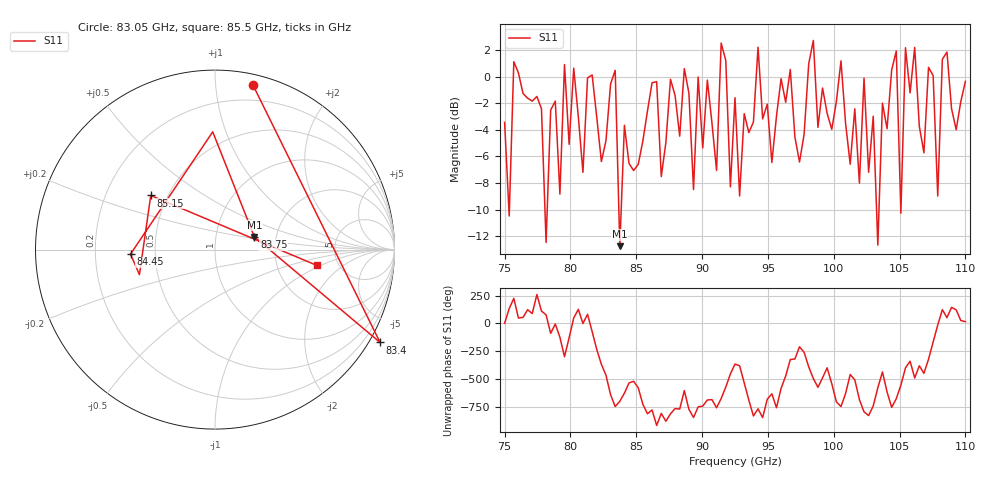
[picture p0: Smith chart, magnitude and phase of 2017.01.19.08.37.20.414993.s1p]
!Created with skrf (http://scikit-rf.org).
# GHz S RI R 50.0
!freq ReS11 ImS11
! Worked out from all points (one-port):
!   101 points, 75 GHz to 110 GHz, reference 50 ohm
!   lowest |S11| = -12.7 dB at 83.75 GHz (marker M1), VSWR 1.60, Z = 77.1 + j11.5 ohm
!   |S11| at or under -10 dB: 75.32603 GHz to 75.36455 GHz (38.52 MHz wide, 0.0511 % of centre); 78.06409 GHz to 78.23676 GHz (172.7 MHz wide, 0.221 % of centre); 83.67722 GHz to 83.85582 GHz (178.6 MHz wide, 0.213 % of centre) (the widest 3 of 5)
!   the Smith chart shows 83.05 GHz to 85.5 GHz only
!   S11 on the Smith chart (normalised r, x): 83.05 GHz: 0.08, +1.26; 83.4 GHz: -0.42, -3.77; 83.75 GHz: 1.54, +0.23; 84.45 GHz: 0.36, -0.02; 85.15 GHz: 0.40, +0.31; 85.5 GHz: 3.42, -0.89
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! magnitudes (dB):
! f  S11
! 75 GHz  -3.4
! 75.35 GHz  -10.5
! 77.8 GHz  -2.4
! 78.15 GHz  -12.5
! 79.55 GHz  0.9
! 80.95 GHz  -7.2
! 83.05 GHz  -0.5
! 83.4 GHz  0.5
! 83.75 GHz  -12.7
! 84.45 GHz  -6.5
! 85.15 GHz  -6.6
! 85.5 GHz  -4.8
! 88.3 GHz  -4.5
! 92.5 GHz  -1.6
! 97.05 GHz  -4.6
! 98.45 GHz  2.7
! 101.2 GHz  -6.6
! 102.3 GHz  -0.1
! 103.3 GHz  -12.7
! 103.7 GHz  -2.0
! 104.8 GHz  1.9
! 105.1 GHz  -10.3
! 105.5 GHz  2.2
! 105.8 GHz  -1.2
! 107.5 GHz  0.1
! 107.9 GHz  -9.0
! 108.2 GHz  1.3
! 110 GHz  -0.4
